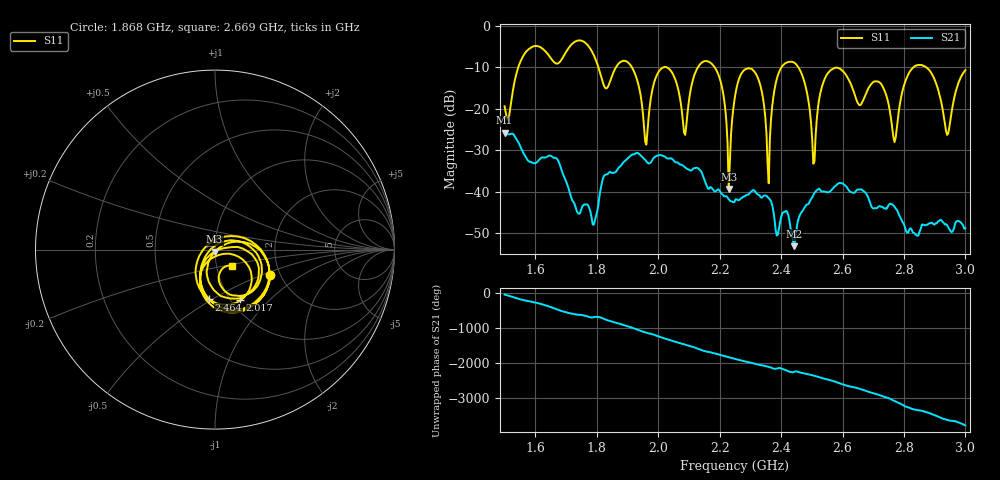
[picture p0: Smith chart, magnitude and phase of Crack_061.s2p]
# HZ S RI R 50
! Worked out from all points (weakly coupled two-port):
!   404 points, 1.5 GHz to 3 GHz, reference 50 ohm
!   highest |S21| = -25.75 dB at 1.5 GHz (marker M1); lowest = -53.0 dB at 2.442 GHz (marker M2)
!   lowest |S11| = -39.3 dB at 2.23 GHz (marker M3), VSWR 1.02, Z = 49.8 - j1.05 ohm
!   |S11| at or under -10 dB: 2.184 GHz to 2.401 GHz (217.8 MHz wide, 9.5 % of centre); 2.456 GHz to 2.831 GHz (374.5 MHz wide, 14.2 % of centre); 2.872 GHz to end of sweep (the widest 3 of 7)
!   S12 and S22 are empty: the file has one direction only
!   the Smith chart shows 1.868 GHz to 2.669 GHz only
!   S11 on the Smith chart (normalised r, x): 1.868 GHz: 1.78, -0.57; 2.017 GHz: 1.10, -0.69; 2.464 GHz: 0.81, -0.49; 2.669 GHz: 1.19, -0.22
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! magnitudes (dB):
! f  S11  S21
! 1.5 GHz  -19.4  -25.7
! 1.753 GHz  -3.7  -43.5
! 1.868 GHz  -9.4  -34.5
! 1.962 GHz  -28.6  -32.7
! 2.002 GHz  -11.0  -31.2
! 2.017 GHz  -10.0  -31.4
! 2.088 GHz  -26.3  -34.1
! 2.181 GHz  -9.7  -39.7
! 2.23 GHz  -39.3  -41.7
! 2.252 GHz  -16.2  -41.8
! 2.315 GHz  -11.3  -39.9
! 2.36 GHz  -37.9  -41.5
! 2.39 GHz  -11.9  -50.2
! 2.442 GHz  -8.9  -53.0
! 2.464 GHz  -11.1  -45.1
! 2.501 GHz  -27.2  -41.3
! 2.561 GHz  -10.8  -39.8
! 2.669 GHz  -17.7  -39.8
! 2.751 GHz  -19.1  -43.1
! 2.862 GHz  -9.6  -47.9
! 2.94 GHz  -26.3  -48.0
! 3 GHz  -10.7  -48.7
